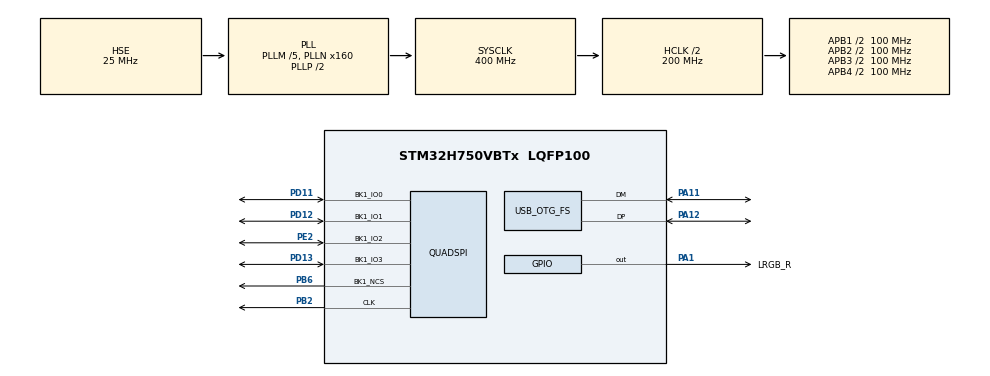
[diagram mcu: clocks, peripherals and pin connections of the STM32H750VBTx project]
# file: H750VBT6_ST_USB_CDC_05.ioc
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CORTEX_M7.AccessPermission-Cortex_Memory_Protection_Unit_Region0_Settings=MPU_REGION_FULL_ACCESS
CORTEX_M7.AccessPermission-Cortex_Memory_Protection_Unit_Region1_Settings=MPU_REGION_FULL_ACCESS
CORTEX_M7.AccessPermission-Cortex_Memory_Protection_Unit_Region2_Settings=MPU_REGION_FULL_ACCESS
CORTEX_M7.AccessPermission-Cortex_Memory_Protection_Unit_Region3_Settings=MPU_REGION_FULL_ACCESS
CORTEX_M7.AccessPermission-Cortex_Memory_Protection_Unit_Region4_Settings=MPU_REGION_FULL_ACCESS
CORTEX_M7.AccessPermission-Cortex_Memory_Protection_Unit_Region5_Settings=MPU_REGION_FULL_ACCESS
CORTEX_M7.AccessPermission-Cortex_Memory_Protection_Unit_Region6_Settings=MPU_REGION_FULL_ACCESS
CORTEX_M7.BaseAddress-Cortex_Memory_Protection_Unit_Region0_Settings=0x24000000
CORTEX_M7.BaseAddress-Cortex_Memory_Protection_Unit_Region1_Settings=0x60000000
CORTEX_M7.BaseAddress-Cortex_Memory_Protection_Unit_Region2_Settings=0x30000000
CORTEX_M7.BaseAddress-Cortex_Memory_Protection_Unit_Region3_Settings=0x30020000
CORTEX_M7.BaseAddress-Cortex_Memory_Protection_Unit_Region4_Settings=0x30040000
CORTEX_M7.BaseAddress-Cortex_Memory_Protection_Unit_Region5_Settings=0x38000000
CORTEX_M7.BaseAddress-Cortex_Memory_Protection_Unit_Region6_Settings=0x90000000
CORTEX_M7.CPU_DCache=Enabled
CORTEX_M7.CPU_ICache=Enabled
CORTEX_M7.Enable-Cortex_Memory_Protection_Unit_Region0_Settings=MPU_REGION_ENABLE
CORTEX_M7.Enable-Cortex_Memory_Protection_Unit_Region1_Settings=MPU_REGION_ENABLE
CORTEX_M7.Enable-Cortex_Memory_Protection_Unit_Region2_Settings=MPU_REGION_ENABLE
CORTEX_M7.Enable-Cortex_Memory_Protection_Unit_Region3_Settings=MPU_REGION_ENABLE
CORTEX_M7.Enable-Cortex_Memory_Protection_Unit_Region4_Settings=MPU_REGION_ENABLE
CORTEX_M7.Enable-Cortex_Memory_Protection_Unit_Region5_Settings=MPU_REGION_ENABLE
CORTEX_M7.Enable-Cortex_Memory_Protection_Unit_Region6_Settings=MPU_REGION_ENABLE
CORTEX_M7.IsBufferable-Cortex_Memory_Protection_Unit_Region0_Settings=MPU_ACCESS_BUFFERABLE
CORTEX_M7.IsBufferable-Cortex_Memory_Protection_Unit_Region1_Settings=MPU_ACCESS_BUFFERABLE
CORTEX_M7.IsBufferable-Cortex_Memory_Protection_Unit_Region6_Settings=MPU_ACCESS_BUFFERABLE
CORTEX_M7.IsCacheable-Cortex_Memory_Protection_Unit_Region0_Settings=MPU_ACCESS_CACHEABLE
CORTEX_M7.IsCacheable-Cortex_Memory_Protection_Unit_Region2_Settings=MPU_ACCESS_CACHEABLE
CORTEX_M7.IsCacheable-Cortex_Memory_Protection_Unit_Region3_Settings=MPU_ACCESS_CACHEABLE
CORTEX_M7.IsCacheable-Cortex_Memory_Protection_Unit_Region4_Settings=MPU_ACCESS_CACHEABLE
CORTEX_M7.IsCacheable-Cortex_Memory_Protection_Unit_Region5_Settings=MPU_ACCESS_CACHEABLE
CORTEX_M7.IsCacheable-Cortex_Memory_Protection_Unit_Region6_Settings=MPU_ACCESS_CACHEABLE
CORTEX_M7.MPU_Control=MPU_PRIVILEGED_DEFAULT
CORTEX_M7.Size-Cortex_Memory_Protection_Unit_Region0_Settings=MPU_REGION_SIZE_512KB
CORTEX_M7.Size-Cortex_Memory_Protection_Unit_Region1_Settings=MPU_REGION_SIZE_256MB
CORTEX_M7.Size-Cortex_Memory_Protection_Unit_Region2_Settings=MPU_REGION_SIZE_128KB
CORTEX_M7.Size-Cortex_Memory_Protection_Unit_Region3_Settings=MPU_REGION_SIZE_128KB
CORTEX_M7.Size-Cortex_Memory_Protection_Unit_Region4_Settings=MPU_REGION_SIZE_32KB
CORTEX_M7.Size-Cortex_Memory_Protection_Unit_Region5_Settings=MPU_REGION_SIZE_64KB
CORTEX_M7.Size-Cortex_Memory_Protection_Unit_Region6_Settings=MPU_REGION_SIZE_8MB
CORTEX_M7.TypeExtField-Cortex_Memory_Protection_Unit_Region0_Settings=MPU_TEX_LEVEL1
CORTEX_M7.TypeExtField-Cortex_Memory_Protection_Unit_Region6_Settings=MPU_TEX_LEVEL1
FREERTOS.INCLUDE_vTaskDelayUntil=1
FREERTOS.Tasks01=defaultTask,24,512,StartDefaultTask,Default,NULL,Dynamic,NULL,NULL
FREERTOS.configMAX_TASK_NAME_LEN=32
FREERTOS.configTOTAL_HEAP_SIZE=32768
FREERTOS.configUSE_NEWLIB_REENTRANT=1
FREERTOS.copyHeapFile=0
Mcu.Family=STM32H7
Mcu.Name=STM32H750VBTx
Mcu.Package=LQFP100
Mcu.UserConstants=QSPI_FLASH_SIZE_2N_OFFSET,0
NVIC.OTG_FS_IRQn=true\:5\:0\:false\:false\:true\:true\:false\:true\:true
NVIC.PriorityGroup=NVIC_PRIORITYGROUP_4
NVIC.TIM3_IRQn=true\:14\:0\:true\:false\:true\:true\:true\:true\:true
NVIC.TIM4_IRQn=true\:0\:0\:true\:false\:true\:false\:false\:true\:true
NVIC.TIM6_DAC_IRQn=true\:13\:0\:true\:false\:true\:true\:true\:true\:true
NVIC.TimeBase=TIM4_IRQn
NVIC.TimeBaseIP=TIM4
PA1.GPIO_Label=LRGB_R
PA1.Signal=GPIO_Output
PA11.GPIO_Speed=GPIO_SPEED_FREQ_VERY_HIGH
PA11.Mode=Device_Only
PA11.Signal=USB_OTG_FS_DM
PA12.GPIO_Speed=GPIO_SPEED_FREQ_VERY_HIGH
PA12.Mode=Device_Only
PA12.Signal=USB_OTG_FS_DP
PA13\ (JTMS/SWDIO).Mode=Serial_Wire
PA13\ (JTMS/SWDIO).Signal=DEBUG_JTMS-SWDIO
PA14\ (JTCK/SWCLK).Mode=Serial_Wire
PA14\ (JTCK/SWCLK).Signal=DEBUG_JTCK-SWCLK
PB2.Mode=Single Bank 1
PB2.Signal=QUADSPI_CLK
PB6.Mode=Single Bank 1
PB6.Signal=QUADSPI_BK1_NCS
PD11.Mode=Single Bank 1
PD11.Signal=QUADSPI_BK1_IO0
PD12.Mode=Single Bank 1
PD12.Signal=QUADSPI_BK1_IO1
PD13.Mode=Single Bank 1
PD13.Signal=QUADSPI_BK1_IO3
PE2.Mode=Single Bank 1
PE2.Signal=QUADSPI_BK1_IO2
PH0-OSC_IN\ (PH0).Mode=HSE-External-Oscillator
PH0-OSC_IN\ (PH0).Signal=RCC_OSC_IN
PH1-OSC_OUT\ (PH1).Mode=HSE-External-Oscillator
PH1-OSC_OUT\ (PH1).Signal=RCC_OSC_OUT
ProjectManager.HeapSize=0x1000
ProjectManager.StackSize=0x1000
ProjectManager.TargetToolchain=STM32CubeIDE
QUADSPI.ChipSelectHighTime=QSPI_CS_HIGH_TIME_2_CYCLE
QUADSPI.ClockPrescaler=1
QUADSPI.FifoThreshold=32
QUADSPI.FlashSize=QSPI_FLASH_SIZE_2N_OFFSET
QUADSPI.SampleShifting=QSPI_SAMPLE_SHIFTING_HALFCYCLE
RCC.ADCCLockSelection=RCC_ADCCLKSOURCE_PLL2
RCC.ADCFreq_Value=50390625
RCC.APB1Freq_Value=100000000
RCC.APB2Freq_Value=100000000
RCC.APB3Freq_Value=100000000
RCC.APB4Freq_Value=100000000
RCC.CECCLockSelection=RCC_CECCLKSOURCE_LSI
RCC.CKPERSourceSelection=RCC_CLKPSOURCE_HSI
RCC.CSI_VALUE=4000000
RCC.CortexFreq_Value=400000000
RCC.Cortex_Div=SYSTICK_CLKSOURCE_HCLK
RCC.Cortex_DivARG=SystemCoreClock/1000
RCC.D1CPRE=RCC_SYSCLK_DIV1
RCC.D1PPRE=RCC_APB3_DIV2
RCC.D2PPRE1=RCC_APB1_DIV2
RCC.D2PPRE2=RCC_APB2_DIV2
RCC.D3PPRE=RCC_APB4_DIV2
RCC.DFSDMCLockSelection=RCC_DFSDM1CLKSOURCE_D2PCLK1
RCC.DIVM1=5
RCC.DIVM2=32
RCC.DIVM3=25
RCC.DIVN1=160
RCC.DIVN2=129
RCC.DIVN3=240
RCC.DIVP1=2
RCC.DIVP3=2
RCC.DIVQ1=2
RCC.DIVQ2=2
RCC.DIVQ3=5
RCC.DIVR1=2
RCC.DIVR2=2
RCC.DIVR3=6
RCC.DSICLockSelection=RCC_DSICLKSOURCE_PHY
RCC.DSIPHY_Div=8
RCC.DSITX_Div=4
RCC.DSI_PHY_VALUE=12288000
RCC.EXTERNAL_CLOCK_VALUE=12288000
RCC.FDCANCLockSelection=RCC_FDCANCLKSOURCE_PLL
RCC.FMCCLockSelection=RCC_FMCCLKSOURCE_D1HCLK
RCC.HCLKFreq_Value=200000000
RCC.HPRE=RCC_HCLK_DIV2
RCC.HSE_VALUE=25000000
RCC.HSIDiv=RCC_PLLSAIDIVR_1
RCC.HSI_VALUE=64000000
RCC.I2C123CLockSelection=RCC_I2C123CLKSOURCE_D2PCLK1
RCC.I2C4CLockSelection=RCC_I2C4CLKSOURCE_D3PCLK1
RCC.LPTIM1CLockSelection=RCC_LPTIM1CLKSOURCE_D2PCLK1
RCC.LPTIM2CLockSelection=RCC_LPTIM2CLKSOURCE_D3PCLK1
RCC.LPTIM345CLockSelection=RCC_LPTIM345CLKSOURCE_D3PCLK1
RCC.LPUART1CLockSelection=RCC_LPUART1CLKSOURCE_D3PCLK1
RCC.PLL1_VCI_Range-AdvancedSettings=RCC_PLL1VCIRANGE_0
RCC.PLL1_VCO_SEL-AdvancedSettings=RCC_PLL1VCOWIDE
RCC.PLLDSIDev=2
RCC.PLLDSIIDF=DSI_PLL_IN_DIV1
RCC.PLLDSIMult=2
RCC.PLLDSINDIV=20
RCC.PLLDSIODF=DSI_PLL_OUT_DIV1
RCC.PLLSourceVirtual=RCC_PLLSOURCE_HSE
RCC.RC48_VALUE=48000000
RCC.RCC_MCO1Source=RCC_MCO1SOURCE_HSI
RCC.RCC_MCO2Source=RCC_MCO2SOURCE_SYSCLK
RCC.RCC_MCODiv1=RCC_MCODIV_1
RCC.RCC_MCODiv2=RCC_MCODIV_1
RCC.RCC_RTC_Clock_Source_FROM_HSE=RCC_RTCCLKSOURCE_HSE_DIV2
RCC.RNGCLockSelection=RCC_RNGCLKSOURCE_HSI48
RCC.SAI1CLockSelection=RCC_SAI1CLKSOURCE_PLL
RCC.SAI23CLockSelection=RCC_SAI23CLKSOURCE_PLL
RCC.SAI4ACLockSelection=RCC_SAI4ACLKSOURCE_PLL
RCC.SAI4BCLockSelection=RCC_SAI4BCLKSOURCE_PLL
RCC.SPDIFCLockSelection=RCC_SPDIFRXCLKSOURCE_PLL
RCC.SPI123CLockSelection=RCC_SPI123CLKSOURCE_PLL
RCC.SPI6CLockSelection=RCC_SPI6CLKSOURCE_D3PCLK1
RCC.SWPCLockSelection=RCC_SWPMI1CLKSOURCE_D2PCLK1
RCC.SYSCLKFreq_VALUE=400000000
RCC.SYSCLKSource=RCC_SYSCLKSOURCE_PLLCLK
RCC.Spi45ClockSelection=RCC_SPI45CLKSOURCE_D2PCLK1
RCC.USART16CLockSelection=RCC_USART16CLKSOURCE_D2PCLK2
RCC.USART234578CLockSelection=RCC_USART234578CLKSOURCE_D2PCLK1
RCC.USBCLockSelection=RCC_USBCLKSOURCE_PLL3
RCC.USBFreq_Value=48000000
TIM3.AutoReloadPreload=TIM_AUTORELOAD_PRELOAD_ENABLE
TIM3.Channel-Output\ Compare1\ No\ Output=TIM_CHANNEL_1
TIM3.Channel-Output\ Compare2\ No\ Output=TIM_CHANNEL_2
TIM3.Channel-Output\ Compare3\ No\ Output=TIM_CHANNEL_3
TIM3.Channel-Output\ Compare4\ No\ Output=TIM_CHANNEL_4
TIM3.OC1Preload=DISABLE
TIM3.OCMode_1=TIM_OCMODE_TOGGLE
TIM3.OCMode_2=TIM_OCMODE_TIMING
TIM3.OCMode_3=TIM_OCMODE_TIMING
TIM3.OCMode_4=TIM_OCMODE_TIMING
TIM6.AutoReloadPreload=TIM_AUTORELOAD_PRELOAD_ENABLE
TIM6.Period=50000 - 1
TIM6.Prescaler=100 - 1
USB_DEVICE.APP_RX_DATA_SIZE-CDC_FS=64
USB_DEVICE.APP_TX_DATA_SIZE-CDC_FS=64
USB_DEVICE.CLASS_NAME_FS=CDC
USB_DEVICE.VirtualMode-CDC_FS=Cdc
USB_DEVICE.VirtualModeFS=Cdc_FS
USB_OTG_FS.VirtualMode=Device_Only
VP_FREERTOS_VS_CMSIS_V2.Mode=CMSIS_V2
VP_SYS_VS_tim4.Mode=TIM4
VP_TIM3_VS_no_output1.Mode=Output Compare1 No Output
VP_TIM3_VS_no_output2.Mode=Output Compare2 No Output
VP_TIM3_VS_no_output3.Mode=Output Compare3 No Output
VP_TIM3_VS_no_output4.Mode=Output Compare4 No Output
VP_TIM6_VS_ClockSourceINT.Mode=Enable_Timer
VP_USB_DEVICE_VS_USB_DEVICE_CDC_FS.Mode=CDC_FS
board=custom

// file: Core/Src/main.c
/* USER CODE BEGIN Header */
/**
  ******************************************************************************
  * @file           : main.c
  * @brief          : Main program body
  ******************************************************************************
  * @attention
  *
  * <h2><center>&copy; Copyright (c) 2022 STMicroelectronics.
  * All rights reserved.</center></h2>
  *
  * This software component is licensed by ST under BSD 3-Clause license,
  * the "License"; You may not use this file except in compliance with the
  * License. You may obtain a copy of the License at:
  *                        opensource.org/licenses/BSD-3-Clause
  *
  ******************************************************************************
  */
/* USER CODE END Header */
#include "main.h"
#include "cmsis_os.h"
#include "tim.h"
#include "usb_device.h"
#include "gpio.h"

/* USER CODE BEGIN Includes */
#include "usbd_cdc_if.h"
/* USER CODE END Includes */

void SystemClock_Config(void);
static void MPU_Config(void);
void MX_FREERTOS_Init(void);

int main(void)
{
  /* USER CODE BEGIN 1 */
//	SCB->VTOR = 0x90000000; /* 设置中断向量表Addr */
  /* USER CODE END 1 */

  /* MPU Configuration--------------------------------------------------------*/
  MPU_Config();

  /* Enable I-Cache---------------------------------------------------------*/
  SCB_EnableICache();

  /* Enable D-Cache---------------------------------------------------------*/
  SCB_EnableDCache();

  /* MCU Configuration--------------------------------------------------------*/

  /* Reset of all peripherals, Initializes the Flash interface and the Systick. */
  HAL_Init();

  /* USER CODE BEGIN Init */
//  USB_Status_Init();
  /* USER CODE END Init */

  /* Configure the system clock */
  SystemClock_Config();

  /* Initialize all configured peripherals */
  MX_GPIO_Init();
  MX_TIM6_Init();
  MX_TIM3_Init();

  /* Init scheduler */
  osKernelInitialize();  /* Call init function for freertos objects (in freertos.c) */
  MX_FREERTOS_Init();

  /* Start scheduler */
  osKernelStart();

  /* We should never get here as control is now taken by the scheduler */
  /* Infinite loop */
  while (1)
  {

  }
}

void SystemClock_Config(void)
{
  RCC_OscInitTypeDef RCC_OscInitStruct = {0};
  RCC_ClkInitTypeDef RCC_ClkInitStruct = {0};

  /** Supply configuration update enable
  */
  HAL_PWREx_ConfigSupply(PWR_LDO_SUPPLY);

  /** Configure the main internal regulator output voltage
  */
  __HAL_PWR_VOLTAGESCALING_CONFIG(PWR_REGULATOR_VOLTAGE_SCALE1);

  while(!__HAL_PWR_GET_FLAG(PWR_FLAG_VOSRDY)) {}

  /** Macro to configure the PLL clock source
  */
  __HAL_RCC_PLL_PLLSOURCE_CONFIG(RCC_PLLSOURCE_HSE);

  /** Initializes the RCC Oscillators according to the specified parameters
  * in the RCC_OscInitTypeDef structure.
  */
  RCC_OscInitStruct.OscillatorType = RCC_OSCILLATORTYPE_HSE;
  RCC_OscInitStruct.HSEState = RCC_HSE_ON;
  RCC_OscInitStruct.PLL.PLLState = RCC_PLL_ON;
  RCC_OscInitStruct.PLL.PLLSource = RCC_PLLSOURCE_HSE;
  RCC_OscInitStruct.PLL.PLLM = 5;
  RCC_OscInitStruct.PLL.PLLN = 160;
  RCC_OscInitStruct.PLL.PLLP = 2;
  RCC_OscInitStruct.PLL.PLLQ = 2;
  RCC_OscInitStruct.PLL.PLLR = 2;
  RCC_OscInitStruct.PLL.PLLRGE = RCC_PLL1VCIRANGE_2;
  RCC_OscInitStruct.PLL.PLLVCOSEL = RCC_PLL1VCOWIDE;
  RCC_OscInitStruct.PLL.PLLFRACN = 0;
  if (HAL_RCC_OscConfig(&RCC_OscInitStruct) != HAL_OK)
  {
    Error_Handler();
  }

  /** Initializes the CPU, AHB and APB buses clocks
  */
  RCC_ClkInitStruct.ClockType = RCC_CLOCKTYPE_HCLK|RCC_CLOCKTYPE_SYSCLK
                              |RCC_CLOCKTYPE_PCLK1|RCC_CLOCKTYPE_PCLK2
                              |RCC_CLOCKTYPE_D3PCLK1|RCC_CLOCKTYPE_D1PCLK1;
  RCC_ClkInitStruct.SYSCLKSource = RCC_SYSCLKSOURCE_PLLCLK;
  RCC_ClkInitStruct.SYSCLKDivider = RCC_SYSCLK_DIV1;
  RCC_ClkInitStruct.AHBCLKDivider = RCC_HCLK_DIV2;
  RCC_ClkInitStruct.APB3CLKDivider = RCC_APB3_DIV2;
  RCC_ClkInitStruct.APB1CLKDivider = RCC_APB1_DIV2;
  RCC_ClkInitStruct.APB2CLKDivider = RCC_APB2_DIV2;
  RCC_ClkInitStruct.APB4CLKDivider = RCC_APB4_DIV2;

  if (HAL_RCC_ClockConfig(&RCC_ClkInitStruct, FLASH_LATENCY_2) != HAL_OK)
  {
    Error_Handler();
  }
}

/* MPU Configuration */

void MPU_Config(void)
{
  MPU_Region_InitTypeDef MPU_InitStruct = {0};

  /* Disables the MPU */
  HAL_MPU_Disable();

  /** Initializes and configures the Region and the memory to be protected
  */
  MPU_InitStruct.Enable = MPU_REGION_ENABLE;
  MPU_InitStruct.Number = MPU_REGION_NUMBER0;
  MPU_InitStruct.BaseAddress = 0x24000000;
  MPU_InitStruct.Size = MPU_REGION_SIZE_512KB;
  MPU_InitStruct.SubRegionDisable = 0x0;
  MPU_InitStruct.TypeExtField = MPU_TEX_LEVEL1;
  MPU_InitStruct.AccessPermission = MPU_REGION_FULL_ACCESS;
  MPU_InitStruct.DisableExec = MPU_INSTRUCTION_ACCESS_ENABLE;
  MPU_InitStruct.IsShareable = MPU_ACCESS_NOT_SHAREABLE;
  MPU_InitStruct.IsCacheable = MPU_ACCESS_CACHEABLE;
  MPU_InitStruct.IsBufferable = MPU_ACCESS_BUFFERABLE;

  HAL_MPU_ConfigRegion(&MPU_InitStruct);

  /** Initializes and configures the Region and the memory to be protected
  */
  MPU_InitStruct.Number = MPU_REGION_NUMBER1;
  MPU_InitStruct.BaseAddress = 0x60000000;
  MPU_InitStruct.Size = MPU_REGION_SIZE_256MB;
  MPU_InitStruct.TypeExtField = MPU_TEX_LEVEL0;
  MPU_InitStruct.IsCacheable = MPU_ACCESS_NOT_CACHEABLE;

  HAL_MPU_ConfigRegion(&MPU_InitStruct);

  /** Initializes and configures the Region and the memory to be protected
  */
  MPU_InitStruct.Number = MPU_REGION_NUMBER2;
  MPU_InitStruct.BaseAddress = 0x30000000;
  MPU_InitStruct.Size = MPU_REGION_SIZE_128KB;
  MPU_InitStruct.IsCacheable = MPU_ACCESS_CACHEABLE;
  MPU_InitStruct.IsBufferable = MPU_ACCESS_NOT_BUFFERABLE;

  HAL_MPU_ConfigRegion(&MPU_InitStruct);

  /** Initializes and configures the Region and the memory to be protected
  */
  MPU_InitStruct.Number = MPU_REGION_NUMBER3;
  MPU_InitStruct.BaseAddress = 0x30020000;

  HAL_MPU_ConfigRegion(&MPU_InitStruct);

  /** Initializes and configures the Region and the memory to be protected
  */
  MPU_InitStruct.Number = MPU_REGION_NUMBER4;
  MPU_InitStruct.BaseAddress = 0x30040000;
  MPU_InitStruct.Size = MPU_REGION_SIZE_32KB;

  HAL_MPU_ConfigRegion(&MPU_InitStruct);

  /** Initializes and configures the Region and the memory to be protected
  */
  MPU_InitStruct.Number = MPU_REGION_NUMBER5;
  MPU_InitStruct.BaseAddress = 0x38000000;
  MPU_InitStruct.Size = MPU_REGION_SIZE_64KB;

  HAL_MPU_ConfigRegion(&MPU_InitStruct);

  /** Initializes and configures the Region and the memory to be protected
  */
  MPU_InitStruct.Number = MPU_REGION_NUMBER6;
  MPU_InitStruct.BaseAddress = 0x90000000;
  MPU_InitStruct.Size = MPU_REGION_SIZE_8MB;
  MPU_InitStruct.TypeExtField = MPU_TEX_LEVEL1;
  MPU_InitStruct.IsBufferable = MPU_ACCESS_BUFFERABLE;

  HAL_MPU_ConfigRegion(&MPU_InitStruct);
  /* Enables the MPU */
  HAL_MPU_Enable(MPU_PRIVILEGED_DEFAULT);

}

void HAL_TIM_PeriodElapsedCallback(TIM_HandleTypeDef *htim)
{
  if (htim->Instance == TIM4) {
    HAL_IncTick();
  }
}

void Error_Handler(void)
{
  __disable_irq();
  while (1)
  {
  }
}

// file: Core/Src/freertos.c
/* USER CODE BEGIN Header */
/**
  ******************************************************************************
  * File Name          : freertos.c
  * Description        : Code for freertos applications
  ******************************************************************************
  * @attention
  *
  * Copyright (c) 2023 STMicroelectronics.
  * All rights reserved.
  *
  * This software is licensed under terms that can be found in the LICENSE file
  * in the root directory of this software component.
  * If no LICENSE file comes with this software, it is provided AS-IS.
  *
  ******************************************************************************
  */
/* USER CODE END Header */

#include "FreeRTOS.h"
#include "task.h"
#include "main.h"
#include "cmsis_os.h"

/* USER CODE BEGIN Includes */
#include "common_inc.h"
#include "communication.hpp"
/* USER CODE END Includes */

/* USER CODE BEGIN Variables */
osSemaphoreId sem_usb_irq;
osSemaphoreId sem_usb_rx;
osSemaphoreId sem_usb_tx;
const uint32_t UsbIrqTaskStackSize = 128 * 4;

/* USER CODE END Variables */
/* Definitions for defaultTask */
osThreadId_t defaultTaskHandle;
const osThreadAttr_t defaultTask_attributes = {
  .name = "defaultTask",
  .stack_size = 512 * 4,
  .priority = (osPriority_t) osPriorityNormal,
};

void StartDefaultTask(void *argument);

extern void MX_USB_DEVICE_Init(void);
void MX_FREERTOS_Init(void); /* (MISRA C 2004 rule 8.1) */

void MX_FREERTOS_Init(void) {

  /* USER CODE BEGIN RTOS_SEMAPHORES */
  /* add semaphores, ... */
  // Init usb irq binary semaphore, and start with no tokens by removing the starting one.
  osSemaphoreDef(sem_usb_irq);
  sem_usb_irq = osSemaphoreNew(1, 0, osSemaphore(sem_usb_irq));

  // Create a semaphore for USB RX, and start with no tokens by removing the starting one.
  osSemaphoreDef(sem_usb_rx);
  sem_usb_rx = osSemaphoreNew(1, 0, osSemaphore(sem_usb_rx));

  // Create a semaphore for USB TX
  osSemaphoreDef(sem_usb_tx);
  sem_usb_tx = osSemaphoreNew(1, 1, osSemaphore(sem_usb_tx));
  /* USER CODE END RTOS_SEMAPHORES */

  /* USER CODE BEGIN RTOS_QUEUES */
  /* add queues, ... */
  // This Task must run before MX_USB_DEVICE_Init(), so have to put it here.
  const osThreadAttr_t usbIrqTask_attributes = {
      .name = "usbIrqTask",
      .stack_size = UsbIrqTaskStackSize,
      .priority = (osPriority_t) osPriorityAboveNormal,
  };
  usbIrqTaskHandle = osThreadNew(UsbDeferredInterruptTask, NULL, &usbIrqTask_attributes);
  /* USER CODE END RTOS_QUEUES */

  /* Create the thread(s) */
  /* creation of defaultTask */
  defaultTaskHandle = osThreadNew(StartDefaultTask, NULL, &defaultTask_attributes);

}

void StartDefaultTask(void *argument)
{
  /* init code for USB_DEVICE */
  MX_USB_DEVICE_Init();
  /* USER CODE BEGIN StartDefaultTask */
  /* Infinite loop */
  Main();

  vTaskDelete(defaultTaskHandle);
  /* USER CODE END StartDefaultTask */
}
